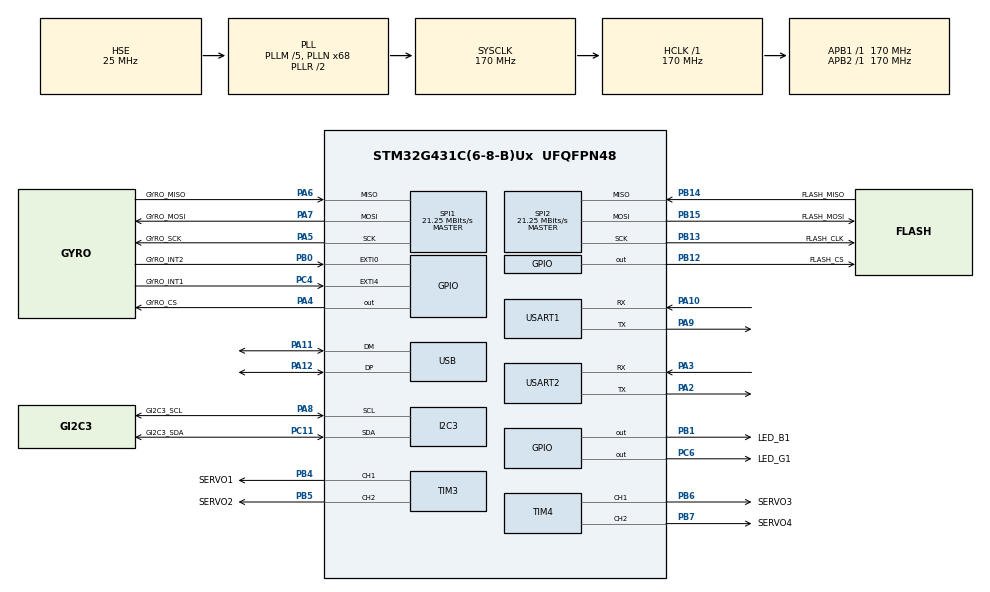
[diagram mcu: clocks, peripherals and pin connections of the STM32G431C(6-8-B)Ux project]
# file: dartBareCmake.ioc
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I2C3.Timing=0x40B285C2
Mcu.Family=STM32G4
Mcu.Name=STM32G431C(6-8-B)Ux
Mcu.Package=UFQFPN48
NVIC.PriorityGroup=NVIC_PRIORITYGROUP_4
NVIC.TIM2_IRQn=true\:0\:0\:false\:false\:true\:true\:true\:true
PA10.Mode=Asynchronous
PA10.Signal=USART1_RX
PA11.Mode=Device
PA11.Signal=USB_DM
PA12.Mode=Device
PA12.Signal=USB_DP
PA13.Mode=Serial_Wire
PA13.Signal=SYS_JTMS-SWDIO
PA14.Mode=Serial_Wire
PA14.Signal=SYS_JTCK-SWCLK
PA2.Mode=Asynchronous
PA2.Signal=USART2_TX
PA3.Mode=Asynchronous
PA3.Signal=USART2_RX
PA4.GPIO_Label=GYRO_CS
PA4.GPIO_PuPd=GPIO_PULLUP
PA4.GPIO_Speed=GPIO_SPEED_FREQ_LOW
PA4.PinState=GPIO_PIN_SET
PA4.Signal=GPIO_Output
PA5.GPIO_Label=GYRO_SCK
PA5.Mode=Full_Duplex_Master
PA5.Signal=SPI1_SCK
PA6.GPIO_Label=GYRO_MISO
PA6.Mode=Full_Duplex_Master
PA6.Signal=SPI1_MISO
PA7.GPIO_Label=GYRO_MOSI
PA7.Mode=Full_Duplex_Master
PA7.Signal=SPI1_MOSI
PA8.GPIO_Label=GI2C3_SCL
PA8.Mode=I2C
PA8.Signal=I2C3_SCL
PA9.Mode=Asynchronous
PA9.Signal=USART1_TX
PB0.GPIO_Label=GYRO_INT2
PB0.Signal=GPXTI0
PB1.GPIO_Label=LED_B1
PB1.PinState=GPIO_PIN_SET
PB1.Signal=GPIO_Output
PB12.GPIO_Label=FLASH_CS
PB12.PinState=GPIO_PIN_SET
PB12.Signal=GPIO_Output
PB13.GPIO_Label=FLASH_CLK
PB13.Mode=Full_Duplex_Master
PB13.Signal=SPI2_SCK
PB14.GPIO_Label=FLASH_MISO
PB14.Mode=Full_Duplex_Master
PB14.Signal=SPI2_MISO
PB15.GPIO_Label=FLASH_MOSI
PB15.Mode=Full_Duplex_Master
PB15.Signal=SPI2_MOSI
PB4.GPIO_Label=SERVO1
PB4.Signal=S_TIM3_CH1
PB5.GPIO_Label=SERVO2
PB5.Signal=S_TIM3_CH2
PB6.GPIO_Label=SERVO3
PB6.Signal=S_TIM4_CH1
PB7.GPIO_Label=SERVO4
PB7.Signal=S_TIM4_CH2
PC11.GPIO_Label=GI2C3_SDA
PC11.Mode=I2C
PC11.Signal=I2C3_SDA
PC4.GPIO_Label=GYRO_INT1
PC4.Signal=GPXTI4
PC6.GPIO_Label=LED_G1
PC6.PinState=GPIO_PIN_SET
PC6.Signal=GPIO_Output
PF0-OSC_IN.Mode=HSE-External-Oscillator
PF0-OSC_IN.Signal=RCC_OSC_IN
PF1-OSC_OUT.Mode=HSE-External-Oscillator
PF1-OSC_OUT.Signal=RCC_OSC_OUT
ProjectManager.HeapSize=0x200
ProjectManager.StackSize=0x400
ProjectManager.TargetToolchain=CMake
RCC.ADC12Freq_Value=170000000
RCC.AHBFreq_Value=170000000
RCC.APB1Freq_Value=170000000
RCC.APB1TimFreq_Value=170000000
RCC.APB2Freq_Value=170000000
RCC.APB2TimFreq_Value=170000000
RCC.CK48CLockSelection=RCC_USBCLKSOURCE_HSI48
RCC.CortexFreq_Value=170000000
RCC.EXTERNAL_CLOCK_VALUE=12288000
RCC.HCLKFreq_Value=170000000
RCC.HSE_VALUE=25000000
RCC.HSI48_VALUE=48000000
RCC.HSI_VALUE=16000000
RCC.LSE_VALUE=32768
RCC.PLLM=RCC_PLLM_DIV5
RCC.PLLN=68
RCC.PLLQ=RCC_PLLQ_DIV4
RCC.PLLSourceVirtual=RCC_PLLSOURCE_HSE
RCC.SYSCLKFreq_VALUE=170000000
RCC.SYSCLKSource=RCC_SYSCLKSOURCE_PLLCLK
RCC.USBFreq_Value=48000000
RCC.VCOOutputFreq_Value=340000000
SH.S_TIM3_CH1.0=TIM3_CH1,PWM Generation1 CH1
SH.S_TIM3_CH2.0=TIM3_CH2,PWM Generation2 CH2
SH.S_TIM4_CH1.0=TIM4_CH1,PWM Generation1 CH1
SH.S_TIM4_CH2.0=TIM4_CH2,PWM Generation2 CH2
SPI1.BaudRatePrescaler=SPI_BAUDRATEPRESCALER_8
SPI1.CalculateBaudRate=21.25 MBits/s
SPI1.DataSize=SPI_DATASIZE_8BIT
SPI1.Direction=SPI_DIRECTION_2LINES
SPI1.Mode=SPI_MODE_MASTER
SPI1.VirtualType=VM_MASTER
SPI2.BaudRatePrescaler=SPI_BAUDRATEPRESCALER_8
SPI2.CalculateBaudRate=21.25 MBits/s
SPI2.DataSize=SPI_DATASIZE_8BIT
SPI2.Direction=SPI_DIRECTION_2LINES
SPI2.Mode=SPI_MODE_MASTER
SPI2.VirtualType=VM_MASTER
TIM2.PeriodNoDither=99
TIM2.Prescaler=169
TIM3.Channel-PWM\ Generation1\ CH1=TIM_CHANNEL_1
TIM3.Channel-PWM\ Generation2\ CH2=TIM_CHANNEL_2
TIM4.Channel-PWM\ Generation1\ CH1=TIM_CHANNEL_1
TIM4.Channel-PWM\ Generation2\ CH2=TIM_CHANNEL_2
USART1.VirtualMode-Asynchronous=VM_ASYNC
USART2.VirtualMode-Asynchronous=VM_ASYNC
VP_SYS_VS_DBSignals.Mode=DisableDeadBatterySignals
VP_TIM2_VS_ClockSourceINT.Mode=Internal
board=custom

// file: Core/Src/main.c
/* USER CODE BEGIN Header */
/**
  ******************************************************************************
  * @file           : main.c
  * @brief          : Main program body
  ******************************************************************************
  * @attention
  *
  * Copyright (c) 2025 STMicroelectronics.
  * All rights reserved.
  *
  * This software is licensed under terms that can be found in the LICENSE file
  * in the root directory of this software component.
  * If no LICENSE file comes with this software, it is provided AS-IS.
  *
  ******************************************************************************
  */
/* USER CODE END Header */
#include "main.h"
#include "i2c.h"
#include "spi.h"
#include "stm32g4xx_hal.h"
#include "tim.h"
#include "usart.h"
#include "usb.h"
#include "gpio.h"

/* USER CODE BEGIN Includes */
#include <stdint.h>
#include <string.h>
#include <delay.h>
#include "SEGGER_RTT.h"
#include <stdlib.h>
#include "TenAxisIMU.h"
#include "w25q128.h"
#include "openmv_parser.h"

/* USER CODE END Includes */

/* USER CODE BEGIN PV */
TenAxisIMU ten_axis_imu;
W25Q128_Device flash_dev;
OpenMV_Parser openmv_parser;
uint8_t openmv_rx_byte;
/* USER CODE END PV */

void SystemClock_Config(void);
/* USER CODE BEGIN PFP */
extern volatile uint8_t imu_update_flag;
extern volatile uint32_t nowtime;
extern TIM_HandleTypeDef htim2;
/* USER CODE END PFP */

int main(void)
{

  /* USER CODE BEGIN 1 */
  *(int *)0xE000ED14 = *(int *)0xE000ED14 & ~0x18;
  /* USER CODE END 1 */

  /* MCU Configuration--------------------------------------------------------*/

  /* Reset of all peripherals, Initializes the Flash interface and the Systick. */
  HAL_Init();

  /* Configure the system clock */
  SystemClock_Config();

  /* Initialize all configured peripherals */
  MX_GPIO_Init();
  MX_I2C3_Init();
  MX_SPI1_Init();
  MX_SPI2_Init();
  MX_TIM3_Init();
  MX_TIM4_Init();
  MX_USART1_UART_Init();
  MX_USART2_UART_Init();
  MX_USB_PCD_Init();
  MX_TIM2_Init();
  /* USER CODE BEGIN 2 */
  if (HAL_TIM_Base_Init(&htim2) != HAL_OK) Error_Handler();
  HAL_TIM_Base_Start_IT(&htim2);

  __HAL_SPI_ENABLE(&hspi1);
  __HAL_SPI_ENABLE(&hspi2);

  delay_init(170);

  SEGGER_RTT_Init();
  SEGGER_RTT_printf(0, "\r\n--- DartIMU OOP System Starting ---\r\n");

  W25Q128_Create(&flash_dev, &hspi2, GPIOB, GPIO_PIN_12);
  if (flash_dev.Init(&flash_dev) == HAL_OK) {
      uint32_t flash_id = flash_dev.ReadID(&flash_dev);
      SEGGER_RTT_printf(0, "W25Q128 Flash Init Successful! ID: 0x%06X\r\n", flash_id);

      uint8_t write_buf[32] = "DartIMU Flash test OK 123456";
      uint8_t read_buf[32] = {0};
      SEGGER_RTT_printf(0, "Flash Test: Erasing Sector 0...\r\n");
      flash_dev.EraseSector(&flash_dev, 0);

      SEGGER_RTT_printf(0, "Flash Test: Writing test pattern...\r\n");
      flash_dev.Write(&flash_dev, 0, write_buf, sizeof(write_buf));

      SEGGER_RTT_printf(0, "Flash Test: Reading back...\r\n");
      flash_dev.Read(&flash_dev, 0, read_buf, sizeof(read_buf));

      SEGGER_RTT_printf(0, "Flash Test Verification: %s\r\n",
                        (strcmp((char*)write_buf, (char*)read_buf) == 0) ? "PASS" : "FAIL");
  } else {
      SEGGER_RTT_printf(0, "W25Q128 Flash Init FAILED!\r\n");
  }

  TenAxisIMU_Create(&ten_axis_imu, &hspi1, GPIOA, GPIO_PIN_4, &hi2c3);
  if (ten_axis_imu.Init(&ten_axis_imu) == HAL_OK) {
      SEGGER_RTT_printf(0, "TenAxisIMU Init Successful!\r\n");
  } else {
      SEGGER_RTT_printf(0, "TenAxisIMU Init FAILED!\r\n");
  }

  OpenMV_Parser_Create(&openmv_parser, &huart1);
  HAL_UART_Receive_IT(&huart1, &openmv_rx_byte, 1);
  /* USER CODE END 2 */
  /* Infinite loop */
  while (1)
  {

    /* USER CODE BEGIN 3 */
    if (imu_update_flag) {
        imu_update_flag = 0;
        ten_axis_imu.Update(&ten_axis_imu);

        static uint16_t print_cnt = 0;
        if (++print_cnt >= 200) {
            print_cnt = 0;
            float yaw, pitch, roll;
            ten_axis_imu.GetEuler(&ten_axis_imu, &yaw, &pitch, &roll);
            float alt = ten_axis_imu.GetAltitude(&ten_axis_imu);

            int16_t yaw_i = (int16_t)(yaw * 10.0f);
            int16_t pitch_i = (int16_t)(pitch * 10.0f);
            int16_t roll_i = (int16_t)(roll * 10.0f);
            int32_t alt_cm = (int32_t)(alt * 100.0f);

            OpenMV_Target_t target;
            openmv_parser.GetTarget(&openmv_parser, &target);

            SEGGER_RTT_printf(0, "Attitude -> Y:%d.%d P:%d.%d R:%d.%d | Alt:%d.%02dm | P:%dPa T:%dC | Vision -> Det:%d X:%d Y:%d W:%d H:%d\r\n",
                yaw_i / 10, abs(yaw_i % 10),
                pitch_i / 10, abs(pitch_i % 10),
                roll_i / 10, abs(roll_i % 10),
                alt_cm / 100, abs(alt_cm % 100),
                (int)ten_axis_imu.raw_pressure, (int)ten_axis_imu.raw_temperature,
                target.detected, target.x, target.y, target.width, target.height);
        }
    }
  }
  /* USER CODE END 3 */
}
void SystemClock_Config(void)
{
  RCC_OscInitTypeDef RCC_OscInitStruct = {0};
  RCC_ClkInitTypeDef RCC_ClkInitStruct = {0};

  /** Configure the main internal regulator output voltage
  */
  HAL_PWREx_ControlVoltageScaling(PWR_REGULATOR_VOLTAGE_SCALE1_BOOST);

  /** Initializes the RCC Oscillators according to the specified parameters
  * in the RCC_OscInitTypeDef structure.
  */
  RCC_OscInitStruct.OscillatorType = RCC_OSCILLATORTYPE_HSI48|RCC_OSCILLATORTYPE_HSE;
  RCC_OscInitStruct.HSEState = RCC_HSE_ON;
  RCC_OscInitStruct.HSI48State = RCC_HSI48_ON;
  RCC_OscInitStruct.PLL.PLLState = RCC_PLL_ON;
  RCC_OscInitStruct.PLL.PLLSource = RCC_PLLSOURCE_HSE;
  RCC_OscInitStruct.PLL.PLLM = RCC_PLLM_DIV5;
  RCC_OscInitStruct.PLL.PLLN = 68;
  RCC_OscInitStruct.PLL.PLLP = RCC_PLLP_DIV2;
  RCC_OscInitStruct.PLL.PLLQ = RCC_PLLQ_DIV4;
  RCC_OscInitStruct.PLL.PLLR = RCC_PLLR_DIV2;
  if (HAL_RCC_OscConfig(&RCC_OscInitStruct) != HAL_OK)
  {
    Error_Handler();
  }

  /** Initializes the CPU, AHB and APB buses clocks
  */
  RCC_ClkInitStruct.ClockType = RCC_CLOCKTYPE_HCLK|RCC_CLOCKTYPE_SYSCLK
                              |RCC_CLOCKTYPE_PCLK1|RCC_CLOCKTYPE_PCLK2;
  RCC_ClkInitStruct.SYSCLKSource = RCC_SYSCLKSOURCE_PLLCLK;
  RCC_ClkInitStruct.AHBCLKDivider = RCC_SYSCLK_DIV1;
  RCC_ClkInitStruct.APB1CLKDivider = RCC_HCLK_DIV1;
  RCC_ClkInitStruct.APB2CLKDivider = RCC_HCLK_DIV1;

  if (HAL_RCC_ClockConfig(&RCC_ClkInitStruct, FLASH_LATENCY_4) != HAL_OK)
  {
    Error_Handler();
  }
}

/* USER CODE BEGIN 4 */
void HAL_UART_RxCpltCallback(UART_HandleTypeDef *huart) {
    if (huart->Instance == USART1) {
        openmv_parser.ParseByte(&openmv_parser, openmv_rx_byte);
        HAL_UART_Receive_IT(&huart1, &openmv_rx_byte, 1);
    }
}

void HAL_UART_ErrorCallback(UART_HandleTypeDef *huart) {
    if (huart->Instance == USART1) {
        // Clear UART error flags to recover from overrun, noise, framing, or parity errors
        __HAL_UART_CLEAR_FLAG(huart, UART_CLEAR_PEF | UART_CLEAR_FEF | UART_CLEAR_NEF | UART_CLEAR_OREF);

        // Restart interrupt RX
        HAL_UART_Receive_IT(&huart1, &openmv_rx_byte, 1);
    }
}
/* USER CODE END 4 */

void Error_Handler(void)
{
  __disable_irq();
  while (1)
  {
  }
}
